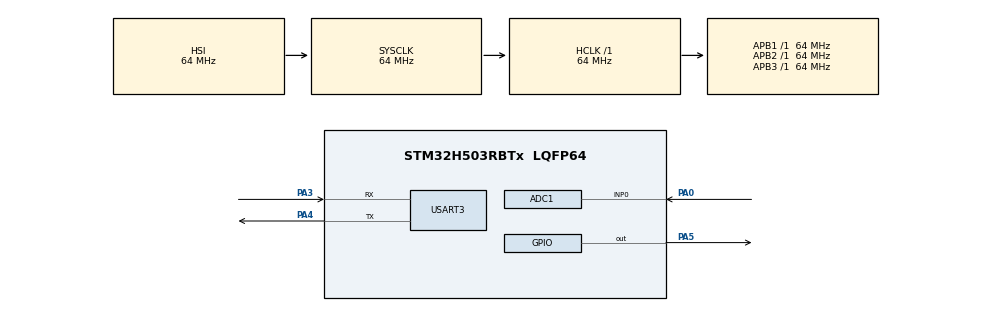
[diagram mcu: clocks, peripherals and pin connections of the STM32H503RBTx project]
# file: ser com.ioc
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ADC1.Channel-5\#ChannelRegularConversion=ADC_CHANNEL_0
ADC1.ContinuousConvMode=ENABLE
ADC1.DMAContinuousRequests=ENABLE
ADC1.MonitoredBy-5\#ChannelRegularConversion=__NULL
ADC1.NbrOfConversion=1
ADC1.NbrOfConversionFlag=1
ADC1.OffsetNumber-5\#ChannelRegularConversion=ADC_OFFSET_NONE
ADC1.Rank-5\#ChannelRegularConversion=1
ADC1.SamplingTime-5\#ChannelRegularConversion=ADC_SAMPLETIME_2CYCLES_5
ADC1.master=1
BOOTPATH.BootPathName=LEGACY
BOOTPATH.UserSelectedBootPath=LEGACY
Mcu.Family=STM32H5
Mcu.Name=STM32H503RBTx
Mcu.Package=LQFP64
NVIC.ADC1_IRQn=true\:0\:0\:false\:false\:true\:true\:true\:true
NVIC.PriorityGroup=NVIC_PRIORITYGROUP_4
NVIC.TIM6_IRQn=true\:0\:0\:false\:false\:true\:true\:true\:true
NVIC.USART3_IRQn=true\:0\:0\:false\:false\:true\:true\:true\:true
PA0.Signal=ADCx_INP0
PA3.Mode=Asynchronous
PA3.Signal=USART3_RX
PA4.Mode=Asynchronous
PA4.Signal=USART3_TX
PA5.Signal=GPIO_Output
ProjectManager.HeapSize=0x200
ProjectManager.StackSize=0x400
ProjectManager.TargetToolchain=STM32CubeIDE
RCC.ADCCLockSelection=RCC_ADCDACCLKSOURCE_CSI
RCC.ADCFreq_Value=4000000
RCC.AHBFreq_Value=64000000
RCC.APB1Freq_Value=64000000
RCC.APB1TimFreq_Value=64000000
RCC.APB2Freq_Value=64000000
RCC.APB2TimFreq_Value=64000000
RCC.APB3Freq_Value=64000000
RCC.CSI_VALUE=4000000
RCC.CortexFreq_Value=64000000
RCC.EPOD_VALUE=4000000
RCC.HCLKFreq_Value=64000000
RCC.HSE_VALUE=25000000
RCC.HSI48_VALUE=48000000
RCC.HSIDiv=RCC_HSI_DIV1
RCC.HSI_VALUE=64000000
RCC.LSE_VALUE=32768
RCC.LSIRC_VALUE=32000
RCC.SYSCLKFreq_VALUE=64000000
RCC.USBFreq_Value=48000000
RCC.VCOOutputFreq_Value=516000000
SH.ADCx_INP0.0=ADC1_INP0,IN0-Single-Ended
TIM6.PeriodNoDither=800-1
TIM6.Prescaler=80-1
USART3.VirtualMode=VM_ASYNC
VP_BOOTPATH_VS_BOOTPATH.Mode=BP_Activate
VP_CORTEX_M33_NS_VS_Hclk.Mode=Hclk_Mode
VP_MEMORYMAP_VS_MEMORYMAP.Mode=CurAppReg
VP_PWR_VS_DBSignals.Mode=DisableDeadBatterySignals
VP_PWR_VS_LPOM.Mode=PowerOptimisation
VP_PWR_VS_SECSignals.Mode=Security/Privilege
VP_TIM6_VS_ClockSourceINT.Mode=Enable_Timer
board=custom

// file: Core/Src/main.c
/* USER CODE BEGIN Header */
/**
  ******************************************************************************
  * @file           : main.c
  * @brief          : Main program body
  ******************************************************************************
  * @attention
  *
  * Copyright (c) 2024 STMicroelectronics.
  * All rights reserved.
  *
  * This software is licensed under terms that can be found in the LICENSE file
  * in the root directory of this software component.
  * If no LICENSE file comes with this software, it is provided AS-IS.
  *
  ******************************************************************************
  */
/* USER CODE END Header */
#include "main.h"

/* USER CODE BEGIN Includes */
#include <string.h>
#include <stdio.h>
#include <stdlib.h>
/* USER CODE END Includes */

/* USER CODE BEGIN PD */
#define RX_BUFFER_SIZE 128 // Define RX_BUFFER_SIZE
#define ping_morning_diff 12
#define ping_diff 4
#define LED_on_diff 6
#define LED_off_diff 7
#define adc_diff 3
/* USER CODE END PD */

ADC_HandleTypeDef hadc1;

TIM_HandleTypeDef htim6;

UART_HandleTypeDef huart3;

/* USER CODE BEGIN PV */

UART_HandleTypeDef huart3;
TIM_HandleTypeDef htim6;
ADC_HandleTypeDef hadc1;

//UART
uint8_t data_buffer[100]; // data buffer
uint8_t recvd_data; // receive buffer
uint32_t count=0; // count how many bytes are received

//LED
uint8_t rx_buffer[128];
uint8_t rx_data;
volatile uint8_t led_blinking = 0;
volatile uint32_t blink_counter = 0;
volatile uint32_t total_blink_counter = 0;
volatile uint8_t morning_ping = 0;
volatile uint8_t ping_call = 0;
volatile uint8_t led_on = 0;
volatile uint8_t adc_call = 0;
volatile uint8_t blink_ms_call = 0;
volatile uint8_t stop_blink = 0;
uint8_t turn_off_led = 0;
char ptr[3];
char i[5];

//ADC1
uint16_t AD_RES = 0;

typedef enum {
    IDLE_STATE,
    LED_BLINK_STATE,
    OTHER_FUNCTION_STATE
} TimerState;

TimerState timerState = IDLE_STATE;
uint32_t otherFunctionCounter = 0;
/* USER CODE END PV */

void SystemClock_Config(void);
static void MX_GPIO_Init(void);
static void MX_USART3_UART_Init(void);
static void MX_TIM6_Init(void);
static void MX_ADC1_Init(void);
/* USER CODE BEGIN PFP */
void HAL_UART_RxCpltCallback(UART_HandleTypeDef *huart);
void process_uart_command(uint8_t* cmd);
void morning_led();
void HAL_ADC_ConvCpltCallback(ADC_HandleTypeDef* hadc);
/* USER CODE END PFP */

/* USER CODE BEGIN 0 */
void HAL_UART_RxCpltCallback(UART_HandleTypeDef *huart)
{
	 if(recvd_data == '\r') //when enter is pressed go to this condition
	 {
		 data_buffer[count++]='\0';
		 process_uart_command(data_buffer);
		 memset(data_buffer, 0, count); // enpty the data buffer
		 count = 0;
	 }
	 else
	 {
		 data_buffer[count++] = recvd_data; // every time when interrput is happen, received 1 byte of data
	 }
	 HAL_UART_Receive_IT(&huart3,&recvd_data,1); //start next data receive interrupt
}
// process commands from CLI
void process_uart_command(uint8_t* cmd)
{
	if (strncmp((const char*)data_buffer, "LED on", LED_on_diff) == 0){
		led_on = 1;
	}
	else if (strncmp((const char*)data_buffer, "LED off", LED_off_diff) == 0){
		led_on = 0;
	}
	else if (strncmp((const char*)data_buffer, "ping_morning", ping_morning_diff) == 0){
		morning_ping = 1;
	}
	else if (strncmp((const char*)data_buffer, "ping", ping_diff) == 0) {
		ping_call = 1;
	}
	else if (strncmp((const char*)data_buffer, "adc", adc_diff) == 0){
		adc_call = 1;
	}
	else if (strncmp((const char*)data_buffer, "blink", 5) == 0){
		blink_ms_call = 1;
		// first solution but for in interrupt is not good. but still I have choosed this option as you can enter delays like 10000
		for (int j = 0; j<sizeof(i); j++){
			if (data_buffer[6+j] != '\0')
				i[j] = data_buffer[6+j];
			else
				i[j] = 0;
		}
		// there is a solution with strncpy but it is also too expensive for interrupt. only for delays up to 999
		//strncpy(ptr, (const char*)data_buffer + 6, 3 - 1);
	}
	else if (strncmp((const char*)data_buffer, "stop_blink", 10) == 0){
		stop_blink = 1;
		turn_off_led = 1;
	}
}

void morning_led() {
    led_blinking = 1;
    blink_counter = 0;
    total_blink_counter = 0;
}

// Interrupt for TIM6 overflow
void HAL_TIM_PeriodElapsedCallback(TIM_HandleTypeDef *htim) {
    if (htim->Instance == TIM6){
    	blink_counter++;
    	total_blink_counter++;
    }

}

void HAL_ADC_ConvCpltCallback(ADC_HandleTypeDef* hadc)
{
    // Read & Update The ADC Result
    AD_RES = HAL_ADC_GetValue(&hadc1);
    HAL_ADC_Stop_IT(&hadc1); // Disable ADC interrupt
}
/* USER CODE END 0 */

int main(void)
{

  /* USER CODE BEGIN 1 */
  uint8_t pong_morning[] = "dongle is alive\r\n";
  uint8_t pong_msg[] = "pong\r\n";
  int toggle = 0;
  /* USER CODE END 1 */

  /* MCU Configuration--------------------------------------------------------*/

  /* Reset of all peripherals, Initializes the Flash interface and the Systick. */
  HAL_Init();

  /* Configure the system clock */
  SystemClock_Config();

  /* Initialize all configured peripherals */
  MX_GPIO_Init();
  MX_USART3_UART_Init();
  MX_TIM6_Init();
  MX_ADC1_Init();
  /* USER CODE BEGIN 2 */
  // Start UART reception in interrupt mode
  HAL_UART_Receive_IT(&huart3, &rx_data, 1);

  // Start TIM6 in interrupt mode
  HAL_TIM_Base_Start_IT(&htim6);
  HAL_ADCEx_Calibration_Start(&hadc1, ADC_SINGLE_ENDED);
  HAL_ADC_Start_IT(&hadc1);
  /* USER CODE END 2 */

  /* Infinite loop */
  while (1)
  {

    /* USER CODE BEGIN 3 */

	// used for Init fo dongle, it blinks 2 times and send message that it is alive
	if (morning_ping == 1){
		morning_ping = 0;
		morning_led();
		toggle = 100; //for Init part blinking is set to 100ms
		turn_off_led = 1;
		HAL_UART_Transmit(&huart3, pong_morning, sizeof(pong_morning) - 1, HAL_MAX_DELAY);
	}
	// statements for "dongle alive - init" and also used for "blink xx ms" part of task
	if (led_blinking) {
	  // Check if it's time to toggle the LED
	  if (blink_counter >= toggle) { // this will toggle LED every toggle ms, timer is set so that it overflows every 1ms
		  HAL_GPIO_TogglePin(GPIOA, GPIO_PIN_5);
		  blink_counter = 0; // Reset the toggle counter
	  }

	  // Check if the total blink duration has been reached
	  if (total_blink_counter >= 500 && turn_off_led == 1) { // turn off LED after 500 for Init part of program, or keep it running
		  	  	  	  	  	  	  	  	  	  	  	  	  	 // if "blink xx ms" is activated, it will turn LED off after "stop_blinking" command
		  led_blinking = 0;
		  HAL_GPIO_WritePin(GPIOA, GPIO_PIN_5, GPIO_PIN_RESET);
		  total_blink_counter = 0; // Reset the total blink counter
	  }
	}else if (led_on == 1) {
		HAL_GPIO_WritePin(GPIOA, GPIO_PIN_5, GPIO_PIN_SET);
	}else {
		HAL_GPIO_WritePin(GPIOA, GPIO_PIN_5, GPIO_PIN_RESET);
	}
	// if "ping" is received send "pong" back
	if (ping_call == 1) {
		HAL_UART_Transmit(&huart3, pong_msg, sizeof(pong_msg) - 1, HAL_MAX_DELAY);
		ping_call = 0;
	}
	// send adc value back
	if (adc_call == 1) {
		adc_call = 0;
		char send[10];

		// convert the integer value to a string
		sprintf(send, "%d", AD_RES);

		HAL_UART_Transmit(&huart3, (uint8_t *)send, strlen(send), HAL_MAX_DELAY);
	}
	// some code from blink led for some ms have been added to, just to shorten interrupt call :)...
	if (blink_ms_call == 1) {
		led_blinking = 1;
		blink_ms_call = 0;
		sscanf(i, "%d", &toggle);
		turn_off_led = 0;
	}
	HAL_ADC_Start_IT(&hadc1); // Start again with ADC1 interrupt
  }
  /* USER CODE END 3 */
}

void SystemClock_Config(void)
{
  RCC_OscInitTypeDef RCC_OscInitStruct = {0};
  RCC_ClkInitTypeDef RCC_ClkInitStruct = {0};

  /** Configure the main internal regulator output voltage
  */
  __HAL_PWR_VOLTAGESCALING_CONFIG(PWR_REGULATOR_VOLTAGE_SCALE3);

  while(!__HAL_PWR_GET_FLAG(PWR_FLAG_VOSRDY)) {}

  /** Initializes the RCC Oscillators according to the specified parameters
  * in the RCC_OscInitTypeDef structure.
  */
  RCC_OscInitStruct.OscillatorType = RCC_OSCILLATORTYPE_HSI|RCC_OSCILLATORTYPE_CSI;
  RCC_OscInitStruct.HSIState = RCC_HSI_ON;
  RCC_OscInitStruct.HSIDiv = RCC_HSI_DIV1;
  RCC_OscInitStruct.HSICalibrationValue = RCC_HSICALIBRATION_DEFAULT;
  RCC_OscInitStruct.CSIState = RCC_CSI_ON;
  RCC_OscInitStruct.CSICalibrationValue = RCC_CSICALIBRATION_DEFAULT;
  RCC_OscInitStruct.PLL.PLLState = RCC_PLL_NONE;
  if (HAL_RCC_OscConfig(&RCC_OscInitStruct) != HAL_OK)
  {
    Error_Handler();
  }

  /** Initializes the CPU, AHB and APB buses clocks
  */
  RCC_ClkInitStruct.ClockType = RCC_CLOCKTYPE_HCLK|RCC_CLOCKTYPE_SYSCLK
                              |RCC_CLOCKTYPE_PCLK1|RCC_CLOCKTYPE_PCLK2
                              |RCC_CLOCKTYPE_PCLK3;
  RCC_ClkInitStruct.SYSCLKSource = RCC_SYSCLKSOURCE_HSI;
  RCC_ClkInitStruct.AHBCLKDivider = RCC_SYSCLK_DIV1;
  RCC_ClkInitStruct.APB1CLKDivider = RCC_HCLK_DIV1;
  RCC_ClkInitStruct.APB2CLKDivider = RCC_HCLK_DIV1;
  RCC_ClkInitStruct.APB3CLKDivider = RCC_HCLK_DIV1;

  if (HAL_RCC_ClockConfig(&RCC_ClkInitStruct, FLASH_LATENCY_3) != HAL_OK)
  {
    Error_Handler();
  }
}

static void MX_ADC1_Init(void)
{

  ADC_ChannelConfTypeDef sConfig = {0};

  /** Common config
  */
  hadc1.Instance = ADC1;
  hadc1.Init.ClockPrescaler = ADC_CLOCK_ASYNC_DIV1;
  hadc1.Init.Resolution = ADC_RESOLUTION_12B;
  hadc1.Init.DataAlign = ADC_DATAALIGN_RIGHT;
  hadc1.Init.ScanConvMode = ADC_SCAN_DISABLE;
  hadc1.Init.EOCSelection = ADC_EOC_SINGLE_CONV;
  hadc1.Init.LowPowerAutoWait = DISABLE;
  hadc1.Init.ContinuousConvMode = ENABLE;
  hadc1.Init.NbrOfConversion = 1;
  hadc1.Init.DiscontinuousConvMode = DISABLE;
  hadc1.Init.ExternalTrigConv = ADC_SOFTWARE_START;
  hadc1.Init.ExternalTrigConvEdge = ADC_EXTERNALTRIGCONVEDGE_NONE;
  hadc1.Init.DMAContinuousRequests = ENABLE;
  hadc1.Init.SamplingMode = ADC_SAMPLING_MODE_NORMAL;
  hadc1.Init.Overrun = ADC_OVR_DATA_PRESERVED;
  hadc1.Init.OversamplingMode = DISABLE;
  if (HAL_ADC_Init(&hadc1) != HAL_OK)
  {
    Error_Handler();
  }

  /** Configure Regular Channel
  */
  sConfig.Channel = ADC_CHANNEL_0;
  sConfig.Rank = ADC_REGULAR_RANK_1;
  sConfig.SamplingTime = ADC_SAMPLETIME_2CYCLES_5;
  sConfig.SingleDiff = ADC_SINGLE_ENDED;
  sConfig.OffsetNumber = ADC_OFFSET_NONE;
  sConfig.Offset = 0;
  if (HAL_ADC_ConfigChannel(&hadc1, &sConfig) != HAL_OK)
  {
    Error_Handler();
  }

}

static void MX_TIM6_Init(void)
{

  TIM_MasterConfigTypeDef sMasterConfig = {0};

  htim6.Instance = TIM6;
  htim6.Init.Prescaler = 80-1;
  htim6.Init.CounterMode = TIM_COUNTERMODE_UP;
  htim6.Init.Period = 799;
  htim6.Init.AutoReloadPreload = TIM_AUTORELOAD_PRELOAD_DISABLE;
  if (HAL_TIM_Base_Init(&htim6) != HAL_OK)
  {
    Error_Handler();
  }
  sMasterConfig.MasterOutputTrigger = TIM_TRGO_RESET;
  sMasterConfig.MasterSlaveMode = TIM_MASTERSLAVEMODE_DISABLE;
  if (HAL_TIMEx_MasterConfigSynchronization(&htim6, &sMasterConfig) != HAL_OK)
  {
    Error_Handler();
  }

}

static void MX_USART3_UART_Init(void)
{

  huart3.Instance = USART3;
  huart3.Init.BaudRate = 115200;
  huart3.Init.WordLength = UART_WORDLENGTH_8B;
  huart3.Init.StopBits = UART_STOPBITS_1;
  huart3.Init.Parity = UART_PARITY_NONE;
  huart3.Init.Mode = UART_MODE_TX_RX;
  huart3.Init.HwFlowCtl = UART_HWCONTROL_NONE;
  huart3.Init.OverSampling = UART_OVERSAMPLING_16;
  huart3.Init.OneBitSampling = UART_ONE_BIT_SAMPLE_DISABLE;
  huart3.Init.ClockPrescaler = UART_PRESCALER_DIV1;
  huart3.AdvancedInit.AdvFeatureInit = UART_ADVFEATURE_NO_INIT;
  if (HAL_UART_Init(&huart3) != HAL_OK)
  {
    Error_Handler();
  }
  if (HAL_UARTEx_SetTxFifoThreshold(&huart3, UART_TXFIFO_THRESHOLD_1_8) != HAL_OK)
  {
    Error_Handler();
  }
  if (HAL_UARTEx_SetRxFifoThreshold(&huart3, UART_RXFIFO_THRESHOLD_1_8) != HAL_OK)
  {
    Error_Handler();
  }
  if (HAL_UARTEx_DisableFifoMode(&huart3) != HAL_OK)
  {
    Error_Handler();
  }
  /* USER CODE BEGIN USART3_Init 2 */
  // Enable the USART3 interrupt in the NVIC
  HAL_NVIC_SetPriority(USART3_IRQn, 0, 0);
  HAL_NVIC_EnableIRQ(USART3_IRQn);
  /* USER CODE END USART3_Init 2 */

}

static void MX_GPIO_Init(void)
{
  GPIO_InitTypeDef GPIO_InitStruct = {0};

  /* GPIO Ports Clock Enable */
  __HAL_RCC_GPIOA_CLK_ENABLE();

  /*Configure GPIO pin Output Level */
  HAL_GPIO_WritePin(GPIOA, GPIO_PIN_5, GPIO_PIN_RESET);

  /*Configure GPIO pin : PA5 */
  GPIO_InitStruct.Pin = GPIO_PIN_5;
  GPIO_InitStruct.Mode = GPIO_MODE_OUTPUT_PP;
  GPIO_InitStruct.Pull = GPIO_NOPULL;
  GPIO_InitStruct.Speed = GPIO_SPEED_FREQ_LOW;
  HAL_GPIO_Init(GPIOA, &GPIO_InitStruct);

}

void Error_Handler(void)
{
  __disable_irq();
  while (1)
  {
  }
}
